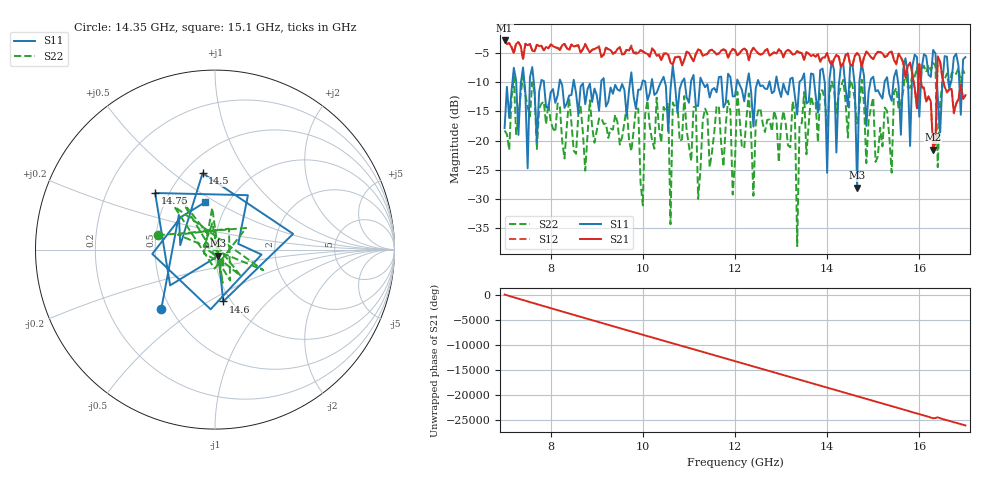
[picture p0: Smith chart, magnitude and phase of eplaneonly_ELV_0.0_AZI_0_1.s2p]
! 10/29/2026 5:03:55 PM
! C:\ANRITSUVNA\TEMP\TEMP.S2P
! CHANNEL.1
! TR.MEASUREMENT
! RAW.DATA
# HZ S RI R 50.0
! FREQ.HZ  S11RE  S11IM  S21RE  S21IM  S12RE  S12IM  S22RE  S22IM
!; PortSelection: Port_12
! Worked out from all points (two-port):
!   201 points, 7 GHz to 17 GHz, reference 50 ohm
!   highest |S21| = -2.94 dB at 7 GHz (marker M1); lowest = -21.6 dB at 16.3 GHz (marker M2)
!   |S21| within 3 dB of the highest: 7.403 GHz to 10.38 GHz (2.976 GHz wide, 33.5 % of centre); 11.12 GHz to 12.29 GHz (1.167 GHz wide, 9.97 % of centre) (the widest 2 of 16)
!   lowest |S11| = -28.1 dB at 14.65 GHz (marker M3), VSWR 1.08, Z = 51.9 - j3.58 ohm
!   |S11| at or under -10 dB: 8.508 GHz to 9.098 GHz (589.6 MHz wide, 6.7 % of centre); 9.157 GHz to 9.723 GHz (566.9 MHz wide, 6.01 % of centre); 11.29 GHz to 11.63 GHz (343.3 MHz wide, 2.99 % of centre) (the widest 3 of 39)
!   |S22| runs from -38.0 to -6.8 dB; largest |S21 - S12| = 0.29
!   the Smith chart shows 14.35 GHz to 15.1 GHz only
!   S11 on the Smith chart (normalised r, x): 14.35 GHz: 0.45, -0.37; 14.5 GHz: 0.61, +0.64; 14.6 GHz: 0.92, -0.58; 14.75 GHz: 0.42, +0.34; 15.1 GHz: 0.78, +0.44
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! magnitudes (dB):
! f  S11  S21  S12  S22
! 7 GHz  -17.9  -2.9  -3.0  -18.3
! 8.7 GHz  -10.2  -4.5  -4.3  -18.7
! 10.35 GHz  -10.8  -5.5  -5.3  -17.9
! 10.55 GHz  -18.4  -5.4  -5.3  -13.6
! 10.6 GHz  -11.3  -6.7  -6.7  -34.3
! 10.65 GHz  -7.2  -7.0  -7.0  -13.5
! 12 GHz  -12.4  -4.6  -4.6  -23.5
! 13.25 GHz  -9.3  -5.3  -5.3  -13.3
! 13.35 GHz  -15.6  -4.8  -4.7  -38.0
! 13.4 GHz  -10.0  -5.0  -5.1  -17.2
! 13.7 GHz  -8.7  -5.4  -5.5  -14.0
! 14 GHz  -25.5  -5.1  -5.1  -17.6
! 14.35 GHz  -7.0  -6.8  -6.8  -9.7
! 14.5 GHz  -7.3  -7.1  -7.1  -9.6
! 14.6 GHz  -10.7  -5.6  -5.5  -13.0
! 14.65 GHz  -28.1  -5.1  -5.1  -17.1
! 14.75 GHz  -6.8  -7.4  -7.4  -9.6
! 15.1 GHz  -11.4  -4.9  -4.9  -22.7
! 15.35 GHz  -12.1  -5.0  -5.0  -19.5
! 16.3 GHz  -4.6  -21.6  -21.5  -6.8
! 16.4 GHz  -12.4  -5.7  -5.7  -24.5
! 17 GHz  -5.8  -12.3  -12.3  -8.9
